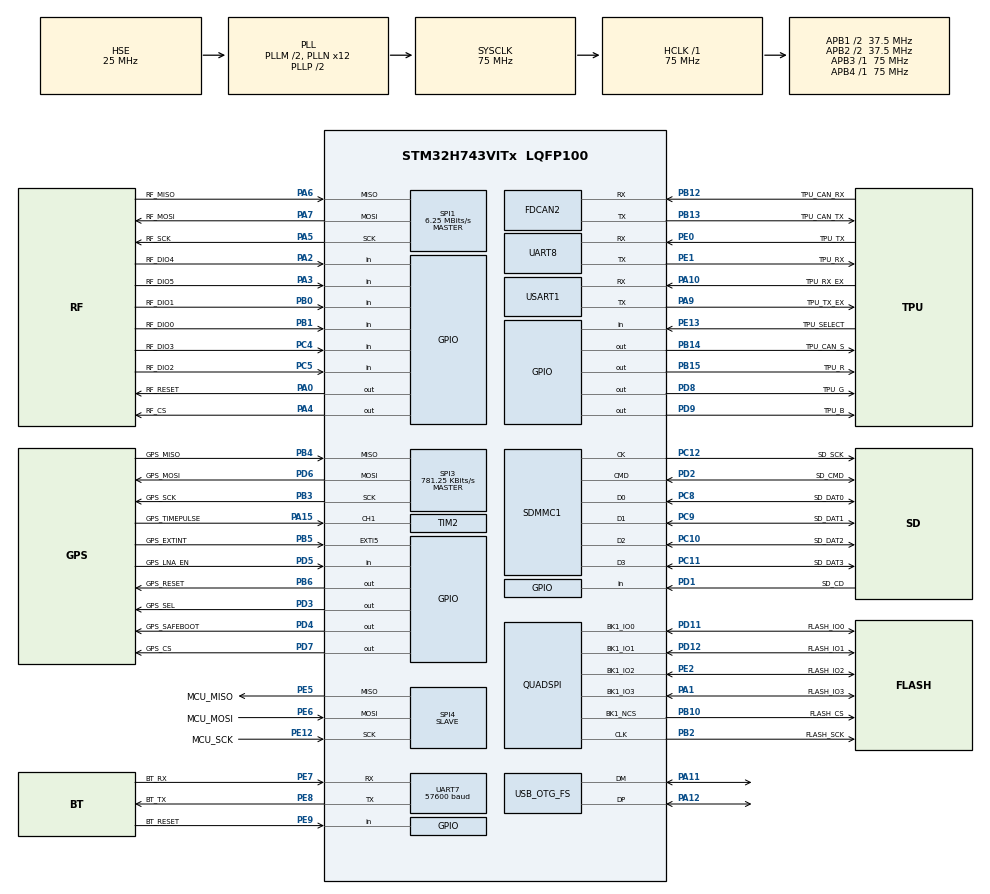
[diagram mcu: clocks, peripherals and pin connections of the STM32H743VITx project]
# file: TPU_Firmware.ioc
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CORTEX_M7.default_mode_Activation=1
FDCAN2.CalculateBaudRateNominal=1041666
FDCAN2.CalculateTimeBitNominal=960
FDCAN2.CalculateTimeQuantumNominal=320.0
FDCAN2.TxBuffersNbr=32
Mcu.Family=STM32H7
Mcu.Name=STM32H743VITx
Mcu.Package=LQFP100
NVIC.OTG_FS_IRQn=true\:0\:0\:false\:false\:true\:false\:true\:true
NVIC.PriorityGroup=NVIC_PRIORITYGROUP_4
NVIC.UART7_IRQn=true\:5\:0\:false\:false\:true\:true\:true\:true
NVIC.UART8_IRQn=true\:5\:0\:false\:false\:true\:true\:true\:true
PA0.GPIO_Label=RF_RESET
PA0.PinState=GPIO_PIN_SET
PA0.Signal=GPIO_Output
PA1.GPIO_Label=FLASH_IO3
PA1.Mode=Single Bank 1
PA1.Signal=QUADSPI_BK1_IO3
PA10.GPIO_Label=TPU_RX_EX
PA10.Mode=Asynchronous
PA10.Signal=USART1_RX
PA11.Mode=Device_Only
PA11.Signal=USB_OTG_FS_DM
PA12.Mode=Device_Only
PA12.Signal=USB_OTG_FS_DP
PA15\ (JTDI).GPIO_Label=GPS_TIMEPULSE
PA15\ (JTDI).Signal=S_TIM2_CH1_ETR
PA2.GPIO_Label=RF_DIO4
PA2.Signal=GPIO_Input
PA3.GPIO_Label=RF_DIO5
PA3.Signal=GPIO_Input
PA4.GPIO_Label=RF_CS
PA4.PinState=GPIO_PIN_SET
PA4.Signal=GPIO_Output
PA5.GPIO_Label=RF_SCK
PA5.Mode=Full_Duplex_Master
PA5.Signal=SPI1_SCK
PA6.GPIO_Label=RF_MISO
PA6.Mode=Full_Duplex_Master
PA6.Signal=SPI1_MISO
PA7.GPIO_Label=RF_MOSI
PA7.Mode=Full_Duplex_Master
PA7.Signal=SPI1_MOSI
PA9.GPIO_Label=TPU_TX_EX
PA9.Mode=Asynchronous
PA9.Signal=USART1_TX
PB0.GPIO_Label=RF_DIO1
PB0.Signal=GPIO_Input
PB1.GPIO_Label=RF_DIO0
PB1.Signal=GPIO_Input
PB10.GPIO_Label=FLASH_CS
PB10.Mode=Single Bank 1
PB10.Signal=QUADSPI_BK1_NCS
PB12.GPIO_Label=TPU_CAN_RX
PB12.Mode=FDCAN_Activate
PB12.Signal=FDCAN2_RX
PB13.GPIO_Label=TPU_CAN_TX
PB13.Mode=FDCAN_Activate
PB13.Signal=FDCAN2_TX
PB14.GPIO_Label=TPU_CAN_S
PB14.Signal=GPIO_Output
PB15.GPIO_Label=TPU_R
PB15.PinState=GPIO_PIN_SET
PB15.Signal=GPIO_Output
PB2.GPIO_Label=FLASH_SCK
PB2.Mode=Single Bank 1
PB2.Signal=QUADSPI_CLK
PB3\ (JTDO/TRACESWO).GPIO_Label=GPS_SCK
PB3\ (JTDO/TRACESWO).Mode=Full_Duplex_Master
PB3\ (JTDO/TRACESWO).Signal=SPI3_SCK
PB4\ (NJTRST).GPIO_Label=GPS_MISO
PB4\ (NJTRST).Mode=Full_Duplex_Master
PB4\ (NJTRST).Signal=SPI3_MISO
PB5.GPIO_Label=GPS_EXTINT
PB5.Signal=GPXTI5
PB6.GPIO_Label=GPS_RESET
PB6.PinState=GPIO_PIN_SET
PB6.Signal=GPIO_Output
PC10.GPIO_Label=SD_DAT2
PC10.Mode=SD_4_bits_Wide_bus
PC10.Signal=SDMMC1_D2
PC11.GPIO_Label=SD_DAT3
PC11.Mode=SD_4_bits_Wide_bus
PC11.Signal=SDMMC1_D3
PC12.GPIO_Label=SD_SCK
PC12.Mode=SD_4_bits_Wide_bus
PC12.Signal=SDMMC1_CK
PC14-OSC32_IN\ (OSC32_IN).Mode=LSE-External-Oscillator
PC14-OSC32_IN\ (OSC32_IN).Signal=RCC_OSC32_IN
PC15-OSC32_OUT\ (OSC32_OUT).Mode=LSE-External-Oscillator
PC15-OSC32_OUT\ (OSC32_OUT).Signal=RCC_OSC32_OUT
PC4.GPIO_Label=RF_DIO3
PC4.Signal=GPIO_Input
PC5.GPIO_Label=RF_DIO2
PC5.Signal=GPIO_Input
PC8.GPIO_Label=SD_DAT0
PC8.Mode=SD_4_bits_Wide_bus
PC8.Signal=SDMMC1_D0
PC9.GPIO_Label=SD_DAT1
PC9.Mode=SD_4_bits_Wide_bus
PC9.Signal=SDMMC1_D1
PD1.GPIO_Label=SD_CD
PD1.Signal=GPIO_Input
PD11.GPIO_Label=FLASH_IO0
PD11.Mode=Single Bank 1
PD11.Signal=QUADSPI_BK1_IO0
PD12.GPIO_Label=FLASH_IO1
PD12.Mode=Single Bank 1
PD12.Signal=QUADSPI_BK1_IO1
PD2.GPIO_Label=SD_CMD
PD2.Mode=SD_4_bits_Wide_bus
PD2.Signal=SDMMC1_CMD
PD3.GPIO_Label=GPS_SEL
PD3.Signal=GPIO_Output
PD4.GPIO_Label=GPS_SAFEBOOT
PD4.PinState=GPIO_PIN_SET
PD4.Signal=GPIO_Output
PD5.GPIO_Label=GPS_LNA_EN
PD5.Signal=GPIO_Input
PD6.GPIO_Label=GPS_MOSI
PD6.Mode=Full_Duplex_Master
PD6.Signal=SPI3_MOSI
PD7.GPIO_Label=GPS_CS
PD7.PinState=GPIO_PIN_SET
PD7.Signal=GPIO_Output
PD8.GPIO_Label=TPU_G
PD8.GPIO_ModeDefaultOutputPP=GPIO_MODE_OUTPUT_PP
PD8.GPIO_PuPd=GPIO_NOPULL
PD8.PinState=GPIO_PIN_SET
PD8.Signal=GPIO_Output
PD9.GPIO_Label=TPU_B
PD9.GPIO_PuPd=GPIO_NOPULL
PD9.PinState=GPIO_PIN_SET
PD9.Signal=GPIO_Output
PE0.GPIO_Label=TPU_TX
PE0.Mode=Asynchronous
PE0.Signal=UART8_RX
PE1.GPIO_Label=TPU_RX
PE1.Mode=Asynchronous
PE1.Signal=UART8_TX
PE12.GPIO_Label=MCU_SCK
PE12.Mode=Full_Duplex_Slave
PE12.Signal=SPI4_SCK
PE13.GPIO_Label=TPU_SELECT
PE13.Signal=GPIO_Input
PE2.GPIO_Label=FLASH_IO2
PE2.Mode=Single Bank 1
PE2.Signal=QUADSPI_BK1_IO2
PE5.GPIO_Label=MCU_MISO
PE5.Mode=Full_Duplex_Slave
PE5.Signal=SPI4_MISO
PE6.GPIO_Label=MCU_MOSI
PE6.Mode=Full_Duplex_Slave
PE6.Signal=SPI4_MOSI
PE7.GPIO_Label=BT_RX
PE7.Mode=Asynchronous
PE7.Signal=UART7_RX
PE8.GPIO_Label=BT_TX
PE8.Mode=Asynchronous
PE8.Signal=UART7_TX
PE9.GPIO_Label=BT_RESET
PE9.Signal=GPIO_Input
PH0-OSC_IN\ (PH0).Mode=HSE-External-Oscillator
PH0-OSC_IN\ (PH0).Signal=RCC_OSC_IN
PH1-OSC_OUT\ (PH1).Mode=HSE-External-Oscillator
PH1-OSC_OUT\ (PH1).Signal=RCC_OSC_OUT
ProjectManager.HeapSize=0x2000
ProjectManager.StackSize=0x6000
ProjectManager.TargetToolchain=Makefile
QUADSPI.ClockPrescaler=7
QUADSPI.FlashSize=24
RCC.ADCFreq_Value=50390625
RCC.APB1Freq_Value=37500000
RCC.APB2Freq_Value=37500000
RCC.APB3Freq_Value=75000000
RCC.APB4Freq_Value=75000000
RCC.CortexFreq_Value=75000000
RCC.D2PPRE1=RCC_APB1_DIV2
RCC.D2PPRE2=RCC_APB2_DIV2
RCC.DIVM1=2
RCC.DIVN1=12
RCC.DIVQ1=3
RCC.HCLKFreq_Value=75000000
RCC.PLL2FRACN=0
RCC.PLL3FRACN=0
RCC.PLLFRACN=0
RCC.SYSCLKFreq_VALUE=75000000
RCC.SYSCLKSource=RCC_SYSCLKSOURCE_PLLCLK
RCC.USBFreq_Value=50000000
SDMMC1.ClockDiv=10
SH.S_TIM2_CH1_ETR.0=TIM2_CH1,Input_Capture1_from_TI1
SPI1.BaudRatePrescaler=SPI_BAUDRATEPRESCALER_8
SPI1.CalculateBaudRate=6.25 MBits/s
SPI1.DataSize=SPI_DATASIZE_8BIT
SPI1.Direction=SPI_DIRECTION_2LINES
SPI1.Mode=SPI_MODE_MASTER
SPI1.VirtualType=VM_MASTER
SPI3.BaudRatePrescaler=SPI_BAUDRATEPRESCALER_64
SPI3.CalculateBaudRate=781.25 KBits/s
SPI3.DataSize=SPI_DATASIZE_8BIT
SPI3.Direction=SPI_DIRECTION_2LINES
SPI3.Mode=SPI_MODE_MASTER
SPI3.VirtualType=VM_MASTER
SPI4.Direction=SPI_DIRECTION_2LINES
SPI4.Mode=SPI_MODE_SLAVE
SPI4.VirtualType=VM_SLAVE
TIM2.Channel-Input_Capture1_from_TI1=TIM_CHANNEL_1
UART7.BaudRate=57600
UART8.AdvFeatureInit=UART_ADVFEATURE_SWAP_INIT
UART8.VirtualMode-Asynchronous=VM_ASYNC
UART8.Swap=UART_ADVFEATURE_SWAP_ENABLE
USART1.VirtualMode-Asynchronous=VM_ASYNC
USB_DEVICE.CLASS_NAME_FS=CDC
USB_DEVICE.USBD_DEBUG_LEVEL-CDC_FS=3
USB_DEVICE.VirtualMode-CDC_FS=Cdc
USB_DEVICE.VirtualModeFS=Cdc_FS
USB_OTG_FS.VirtualMode=Device_Only
VP_MEMORYMAP_VS_MEMORYMAP.Mode=CurAppReg
VP_USB_DEVICE_VS_USB_DEVICE_CDC_FS.Mode=CDC_FS
board=custom

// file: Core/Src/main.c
/* USER CODE BEGIN Header */
/**
  ******************************************************************************
  * @file           : main.c
  * @brief          : Main program body
  ******************************************************************************
  * @attention
  *
  * Copyright (c) 2025 STMicroelectronics.
  * All rights reserved.
  *
  * This software is licensed under terms that can be found in the LICENSE file
  * in the root directory of this software component.
  * If no LICENSE file comes with this software, it is provided AS-IS.
  *
  ******************************************************************************
  */
/* USER CODE END Header */
#include "main.h"
#include "usb_device.h"

/* USER CODE BEGIN Includes */
#include "usbd_cdc_if.h"
#include "athena.h"
#include "athena_link.h"
#include "sx127x.h"
#include "ublox.h"
#include "logger.h"
#include <string.h>

/* USER CODE END Includes */

/* USER CODE BEGIN PD */
#define LORA_FREQ_HZ    433000000u   // RA-02 band 410-525 MHz; match the ground station
#define LORA_TX_DBM     17
#define TELEM_RATE_HZ   2            // ~45 B frame at SF7/125k is ~90 ms of air time
#define STATUS_PRINT_MS 500
#define LED_IDENTITY_MS 3000         // show the MCU identity colour this long after reset
/* USER CODE END PD */

FDCAN_HandleTypeDef hfdcan2;

QSPI_HandleTypeDef hqspi;

SD_HandleTypeDef hsd1;

SPI_HandleTypeDef hspi1;
SPI_HandleTypeDef hspi3;
SPI_HandleTypeDef hspi4;

TIM_HandleTypeDef htim2;

UART_HandleTypeDef huart7;
UART_HandleTypeDef huart8;
UART_HandleTypeDef huart1;

/* USER CODE BEGIN PV */
static uint32_t dfu_boot_magic, dfu_boot_bkp;
static uint8_t  leds_off;                      // 'L' on the USB console: dark board (night, bench)
static uint32_t fault_rec[6];                 // crash record from the previous run (magic, pc, lr, cfsr, hfsr, bfar)
static Link             mpu_link;        // UART8 <-> MPU
static Link             air_link;        // frames received over LoRa (ground -> rocket)
static uint8_t          uart8_rx_byte;
static uint8_t          uart_frame[sizeof(Athena_GpsFix) + LINK_OVERHEAD];   // owned by the UART8 IT transfer
static uint8_t          usb_frame[sizeof(Athena_GpsFix) + LINK_OVERHEAD];
static uint8_t          lora_frame[sizeof(Athena_Telemetry) + LINK_OVERHEAD];
static Athena_State     mpu_state;
static uint32_t         mpu_state_ms, state_count;
static Athena_GpsFix    gps;
static uint32_t         gps_ms, gps_count;
static uint8_t          lora_ok, gps_cfg_failed;
static int16_t          last_rssi; static int8_t last_snr; static uint32_t air_count;
static uint8_t          lora_fail;
static uint8_t          uart7_rx_byte;                       // DA14531 (CodeLess AT) console
static char             bt_line[96]; static uint8_t bt_len; static uint32_t bt_rx_bytes;
static Link             bt_link;         // DA14531 UART: command frames from a phone (DSPS) + AT text (CodeLess)
static uint32_t         gps_rate_count, gps_rate_ms, gps_rate_x10;   /* measured fix rate, Hz*10 */
static Link             usb_link;        // USB console: command frames from the dashboard + single-character commands
static Athena_SpuStatus spu;             // latest SPU status (relayed by the MPU)
static uint8_t          spu_frame[sizeof(Athena_SpuStatus) + LINK_OVERHEAD];   // kept for USB + the radio
static uint32_t         spu_ms, spu_count, last_spu_air_ms;
static uint8_t          cmd_frame[sizeof(Athena_Cmd) + LINK_OVERHEAD], cmd_pending[sizeof(Athena_Cmd) + LINK_OVERHEAD];
static uint8_t          cmd_pending_len; // command waiting for UART8 (-> MPU -> SPU)
static uint32_t         cmd_count;
static uint8_t          bt_frame[sizeof(Athena_SpuStatus) + LINK_OVERHEAD];    // owned by the UART7 IT transfer (-> DA14531 -> phone/laptop)
/* Ground-station mode ('G' on the console, remembered in backup register 1): this board sits on the ground
 * with the laptop. It stops transmitting its own telemetry, hands every LoRa frame it hears to USB (and the
 * Bluetooth UART) as-is, and transmits command frames that arrive on USB/Bluetooth over LoRa. */
static uint8_t          ground_mode;
static uint8_t          air_frame[LINK_MAX_PAYLOAD + LINK_OVERHEAD];
static uint8_t          uplink_frame[sizeof(Athena_Cmd) + LINK_OVERHEAD];
static uint8_t          uplink_len;      // command waiting for the radio (ground mode)
static uint32_t         uplink_count;
#define GROUND_BKP_REG  (RTC->BKP1R)
#define GROUND_MAGIC    0x47524E44UL     /* "GRND" */
/* USER CODE END PV */

void SystemClock_Config(void);
static void MPU_Config(void);
static void MX_GPIO_Init(void);
static void MX_QUADSPI_Init(void);
static void MX_SPI1_Init(void);
static void MX_SPI3_Init(void);
static void MX_SPI4_Init(void);
static void MX_UART7_Init(void);
static void MX_UART8_Init(void);
static void MX_FDCAN2_Init(void);
static void MX_USART1_UART_Init(void);
static void MX_TIM2_Init(void);
static void MX_SDMMC1_SD_Init(void);
/* USER CODE BEGIN PFP */
static void Athena_DfuPoll(void);
void Athena_DfuRequest(uint8_t c);
static void on_mpu_packet(uint8_t type, const uint8_t *payload, uint8_t len, void *user);
static void on_air_packet(uint8_t type, const uint8_t *payload, uint8_t len, void *user);
static void on_usb_packet(uint8_t type, const uint8_t *payload, uint8_t len, void *user);
static void on_usb_text(uint8_t b, void *user);
static void on_bt_packet(uint8_t type, const uint8_t *payload, uint8_t len, void *user);
static void on_bt_text(uint8_t b, void *user);
static void forward_cmd(const uint8_t *payload, uint8_t len, const char *src);
void Athena_UsbRx(const uint8_t *buf, uint32_t len);
/* USER CODE END PFP */

int main(void)
{

  /* USER CODE BEGIN 1 */
  SCB->VTOR = FLASH_BASE;                                       /* after a DFU "leave" the ROM jumps here without a reset and VTOR still points at its own table */
  __DSB(); __ISB();
  dfu_boot_magic = *(volatile uint32_t *)DFU_MAGIC_ADDR;        /* printed later: tells whether the word survived the reset */
  DFU_BKP_ENABLE();
  dfu_boot_bkp = DFU_BKP_REG;
  if (dfu_boot_magic == DFU_MAGIC || dfu_boot_bkp == DFU_MAGIC) {   /* 'B' on the USB console asked for DFU */
    *(volatile uint32_t *)DFU_MAGIC_ADDR = 0;
    DFU_BKP_REG = 0;
    SysTick->CTRL = 0;
    SCB->VTOR = DFU_SYSMEM_ADDR;                                /* ROM vector table; interrupts stay enabled as after a real reset */
    __set_MSP(*(volatile uint32_t *)DFU_SYSMEM_ADDR);
    ((void (*)(void))(*(volatile uint32_t *)(DFU_SYSMEM_ADDR + 4)))();   /* never returns */
  }

  { volatile uint32_t *r = (volatile uint32_t *)(DFU_MAGIC_ADDR + 0x10);   /* left by Athena_FaultSave() / Error_Handler() before their reset */
    if (r[0] == 0x46415554UL || r[0] == 0x4552524FUL) { for (int i = 0; i < 6; i++) fault_rec[i] = r[i]; r[0] = 0; } }
  /* USER CODE END 1 */

  /* MPU Configuration--------------------------------------------------------*/
  MPU_Config();

  /* MCU Configuration--------------------------------------------------------*/

  /* Reset of all peripherals, Initializes the Flash interface and the Systick. */
  HAL_Init();

  /* Configure the system clock */
  SystemClock_Config();

  /* USER CODE BEGIN SysInit */
  Athena_LED_PinConfig led_pins = {
      .port_r = TPU_R_GPIO_Port,
      .pin_r = TPU_R_Pin,
      .port_g = TPU_G_GPIO_Port,
      .pin_g = TPU_G_Pin,
      .port_b = TPU_B_GPIO_Port,
      .pin_b = TPU_B_Pin
  };
  Athena_Init(&led_pins, NULL);

  /* USER CODE END SysInit */

  /* Initialize all configured peripherals */
  MX_GPIO_Init();
  MX_QUADSPI_Init();
  MX_SPI1_Init();
  MX_SPI3_Init();
  MX_SPI4_Init();
  MX_UART7_Init();
  MX_UART8_Init();
  MX_FDCAN2_Init();
  MX_USART1_UART_Init();
  MX_TIM2_Init();
  MX_USB_DEVICE_Init();
  MX_SDMMC1_SD_Init();
  /* USER CODE BEGIN 2 */
  Set_LED_Color(LED_RED);                              // identity colour: TPU = red (MPU green, SPU blue)
  Link_Init(&mpu_link, on_mpu_packet, NULL);
  Link_Init(&air_link, on_air_packet, NULL);
  Link_Init(&usb_link, on_usb_packet, NULL);
  usb_link.on_text = on_usb_text;                      // 'B'/'J' DFU, 'D'/'E'/'S'/'F' logger
  Link_Init(&bt_link, on_bt_packet, NULL);
  bt_link.on_text = on_bt_text;                        // CodeLess replies collected into lines
  ground_mode = (GROUND_BKP_REG == GROUND_MAGIC);      // survives resets and reflashes until 'G' again
  HAL_UART_Receive_IT(&huart8, &uart8_rx_byte, 1);
  HAL_UART_Receive_IT(&huart7, &uart7_rx_byte, 1);     // DA14531 CodeLess replies (needs module J5/P0_6 -> PE7, see INTEGRATION.md)
  HAL_Delay(1000);                                     // USB CDC enumeration

  print("\r\n=== Athena TPU ===\r\n");
  print("dfu: boot magic sram=0x%08lX bkp=0x%08lX\r\n", (unsigned long)dfu_boot_magic, (unsigned long)dfu_boot_bkp);
  if (ground_mode) print("GROUND STATION MODE: relaying LoRa <-> USB, no telemetry of my own ('G' to leave)\r\n");
  if (fault_rec[0]) print("%s before this reset: pc=0x%08lX lr=0x%08lX cfsr=0x%08lX hfsr=0x%08lX bfar=0x%08lX\r\n",
                          fault_rec[0] == 0x46415554UL ? "FAULT" : "ERROR_HANDLER", (unsigned long)fault_rec[1], (unsigned long)fault_rec[2],
                          (unsigned long)fault_rec[3], (unsigned long)fault_rec[4], (unsigned long)fault_rec[5]);
  lora_ok = (SX127x_Init(LORA_FREQ_HZ, LORA_TX_DBM) == 0);
  print("SX1278 %s (RegVersion 0x%02X)\r\n", lora_ok ? "ok" : "FAILED", SX127x_ReadReg(0x42));
  gps_cfg_failed = (uint8_t)Ublox_Init();
  print("NEO-M8U: %u config messages not ACKed (ack %lu nak %lu)\r\n", gps_cfg_failed, (unsigned long)Ublox_AckCount(), (unsigned long)Ublox_NakCount());
  print("init: logger\r\n");
  Logger_Init();                                       // W25Q256 ring log + microSD file (mounted when a card is present)
  print("init: done, entering loop\r\n");
  HAL_Delay(1500);                                     // DA14531 boots CodeLess from its flash (RST/P0_0 left floating)
  HAL_UART_Transmit(&huart7, (uint8_t *)"AT\r\n", 4, 100);
  print("DA14531: AT sent on UART7 @57600 (replies only visible once module J5/P0_6 is wired to PE7)\r\n");

  uint32_t last_telem_ms = 0, last_print_ms = 0;
  /* USER CODE END 2 */

  /* Infinite loop */
  /* USER CODE BEGIN WHILE */
  while (1)
  {
    uint32_t now = HAL_GetTick();
    Athena_DfuPoll();

    /* 0. logging back-ends: card detect, buffered writes, periodic sync, console commands */
    Logger_Task();

    /* 1. navigation state + SPU status arriving from the MPU (on_mpu_packet), USB console (on_usb_*) */
    Link_Process(&mpu_link);
    Link_Process(&usb_link);
    Link_Process(&bt_link);
    if (cmd_pending_len && huart8.gState == HAL_UART_STATE_READY) {   // command (uplink or USB) -> MPU -> SPU
      memcpy(cmd_frame, cmd_pending, cmd_pending_len);
      HAL_UART_Transmit_IT(&huart8, cmd_frame, cmd_pending_len); cmd_pending_len = 0;
    }

    /* 2. GPS: forward every NAV-PVT to the MPU, where the Kalman filter uses it */
    if (Ublox_Poll(&gps)) {
      gps_ms = now; gps_count++; gps_rate_count++;
      if ((now - gps_rate_ms) >= 5000u) {              // fix rate actually delivered by the receiver
        gps_rate_x10 = gps_rate_count * 10000u / (now - gps_rate_ms);
        gps_rate_count = 0; gps_rate_ms = now;
      }
      if (!ground_mode) {                              // a ground board's own fix would pass for the rocket's
        size_t n = Link_Encode(usb_frame, LINK_PKT_GPS, &gps, sizeof gps);
        Logger_Write(usb_frame, (uint32_t)n);
        CDC_Transmit_FS(usb_frame, (uint16_t)n);               // to the USB dashboard (dropped if busy)
        if (huart8.gState == HAL_UART_STATE_READY) {
          memcpy(uart_frame, usb_frame, n);
          HAL_UART_Transmit_IT(&huart8, uart_frame, (uint16_t)n);
        }
      }
    }

    /* 3. telemetry downlink: fused estimate + raw fix quality (not when this board is the ground station) */
    if (ground_mode && lora_ok && uplink_len) {                 // command from the laptop -> rocket
      if (SX127x_Send(uplink_frame, uplink_len) == 0) uplink_count++;
      else print("uplink: TxDone timeout\r\n");
      uplink_len = 0;
    }
    if (!ground_mode && lora_ok && (now - last_telem_ms) >= (1000u / TELEM_RATE_HZ)) {
      last_telem_ms = now;
      Athena_Telemetry t;
      Link_MakeTelemetry(&t, &mpu_state, (now - gps_ms) < 2000u ? &gps : NULL, now);
      size_t n = Link_Encode(lora_frame, LINK_PKT_TELEM, &t, sizeof t);
      Logger_Write(lora_frame, (uint32_t)n);
      CDC_Transmit_FS(lora_frame, (uint16_t)n);                // to the USB dashboard too
      if (huart7.gState == HAL_UART_STATE_READY) {             // and to the Bluetooth module (transparent with the DSPS firmware)
        memcpy(bt_frame, lora_frame, n);
        HAL_UART_Transmit_IT(&huart7, bt_frame, (uint16_t)n);
      }
      if (SX127x_Send(lora_frame, (uint8_t)n) == 0) {  // blocks ~90 ms, then returns to RX
        lora_fail = 0;
      } else if (++lora_fail >= 2) {                   // no TxDone twice: reset and re-init the radio
        lora_ok = (SX127x_Init(LORA_FREQ_HZ, LORA_TX_DBM) == 0);
        lora_fail = 0;
        print("SX1278: TxDone timeout, re-init %s\r\n", lora_ok ? "ok" : "FAILED");
      }
      /* 3b. SPU status (phase, armed, pyros, battery) every 2 s while it is fresh */
      if (lora_ok && spu_count && (now - spu_ms) < 3000u && (now - last_spu_air_ms) >= 2000u) {
        last_spu_air_ms = now;
        SX127x_Send(spu_frame, (uint8_t)(sizeof(Athena_SpuStatus) + LINK_OVERHEAD));
        if (huart7.gState == HAL_UART_STATE_READY) {
          memcpy(bt_frame, spu_frame, sizeof(Athena_SpuStatus) + LINK_OVERHEAD);
          HAL_UART_Transmit_IT(&huart7, bt_frame, (uint16_t)(sizeof(Athena_SpuStatus) + LINK_OVERHEAD));
        }
      }
    }

    /* 4. uplink: anything the ground station sends is parsed with the same framing */
    if (lora_ok) {
      uint8_t rx[LINK_MAX_PAYLOAD + LINK_OVERHEAD];
      int n = SX127x_Receive(rx, sizeof rx, &last_rssi, &last_snr);
      for (int i = 0; i < n; i++) Link_FeedByte(&air_link, rx[i]);
    }

    /* 4b. anything the Bluetooth module said */
    if (bt_len == 0xFF) { print("bt: %s\r\n", bt_line); bt_len = 0; }

    /* 5. status over USB */
    if ((now - last_print_ms) >= STATUS_PRINT_MS) {
      last_print_ms = now;
      const Ublox_Hw *hw = Ublox_HwStatus();
      char logst[48]; Logger_StatusLine(logst, sizeof logst);
      static char line[320];
      int ln = snprintf(line, sizeof line, "gps fix=%u sv=%u lat=%ld lon=%ld hmsl=%ld m (n=%lu, %lu.%lu Hz) ant=%s pwr=%u noise=%u agc=%u jam=%u | mpu alt=%.1f vD=%.1f flags=0x%02X (n=%lu, %lu ms ago, bad=%lu) | spu %s ph=%u fl=0x%02X fired=0x%02X vbat=%u | air rx=%lu rssi=%d%s up=%lu | %s | boot=%08lX/%08lX",
            gps.fix_type, gps.num_sv, (long)gps.lat_1e7, (long)gps.lon_1e7, (long)(gps.h_msl_mm / 1000), (unsigned long)gps_count,
            (unsigned long)(gps_rate_x10 / 10), (unsigned long)(gps_rate_x10 % 10),
            hw->valid ? Ublox_AntStatusStr(hw->ant_status) : "-", hw->ant_power, hw->noise_per_ms, hw->agc_cnt, hw->jam_ind,
            -mpu_state.pos_ned[2], mpu_state.vel_ned[2], mpu_state.flags, (unsigned long)state_count, (unsigned long)(HAL_GetTick() - mpu_state_ms), (unsigned long)mpu_link.rx_bad,
            (spu_count && (now - spu_ms) < 3000u) ? "ok" : "LOST", spu.phase, spu.flags, spu.pyro_fired, spu.vbat_mv,
            (unsigned long)air_count, last_rssi, ground_mode ? " GROUND" : "", (unsigned long)uplink_count, logst, (unsigned long)dfu_boot_magic, (unsigned long)dfu_boot_bkp);
      if (ln > (int)sizeof line - 1) ln = sizeof line - 1;
      print("%s\r\n", line);
      static uint8_t text_frame[LINK_MAX_PAYLOAD + LINK_OVERHEAD];
      Logger_Write(text_frame, (uint32_t)Link_Encode(text_frame, LINK_PKT_TEXT, line, (uint8_t)(ln > LINK_MAX_PAYLOAD ? LINK_MAX_PAYLOAD : ln)));
      int mpu_alive = (now - mpu_state_ms) < 1000u && state_count;
      if (leds_off)                                   Set_LED_Color(LED_OFF);
      else if (HAL_GetTick() < LED_IDENTITY_MS)       { /* keep showing the identity colour */ }
      else if (!lora_ok)                              Set_LED_Color(LED_YELLOW);
      else if (mpu_alive && gps.fix_type >= 3)        Set_LED_Color(LED_GREEN);
      else if (mpu_alive)                             Set_LED_Color(LED_CYAN);
      else                                            Set_LED_Color(LED_BLUE);
    }
    /* USER CODE END WHILE */

  }
}

void SystemClock_Config(void)
{
  RCC_OscInitTypeDef RCC_OscInitStruct = {0};
  RCC_ClkInitTypeDef RCC_ClkInitStruct = {0};

  /** Supply configuration update enable
  */
  HAL_PWREx_ConfigSupply(PWR_LDO_SUPPLY);

  /** Configure the main internal regulator output voltage
  */
  __HAL_PWR_VOLTAGESCALING_CONFIG(PWR_REGULATOR_VOLTAGE_SCALE3);

  while(!__HAL_PWR_GET_FLAG(PWR_FLAG_VOSRDY)) {}

  /** Initializes the RCC Oscillators according to the specified parameters
  * in the RCC_OscInitTypeDef structure.
  */
  RCC_OscInitStruct.OscillatorType = RCC_OSCILLATORTYPE_HSE;
  RCC_OscInitStruct.HSEState = RCC_HSE_ON;
  RCC_OscInitStruct.PLL.PLLState = RCC_PLL_ON;
  RCC_OscInitStruct.PLL.PLLSource = RCC_PLLSOURCE_HSE;
  RCC_OscInitStruct.PLL.PLLM = 2;
  RCC_OscInitStruct.PLL.PLLN = 12;
  RCC_OscInitStruct.PLL.PLLP = 2;
  RCC_OscInitStruct.PLL.PLLQ = 3;
  RCC_OscInitStruct.PLL.PLLR = 2;
  RCC_OscInitStruct.PLL.PLLRGE = RCC_PLL1VCIRANGE_3;
  RCC_OscInitStruct.PLL.PLLVCOSEL = RCC_PLL1VCOMEDIUM;
  RCC_OscInitStruct.PLL.PLLFRACN = 0;
  if (HAL_RCC_OscConfig(&RCC_OscInitStruct) != HAL_OK)
  {
    Error_Handler();
  }

  /** Initializes the CPU, AHB and APB buses clocks
  */
  RCC_ClkInitStruct.ClockType = RCC_CLOCKTYPE_HCLK|RCC_CLOCKTYPE_SYSCLK
                              |RCC_CLOCKTYPE_PCLK1|RCC_CLOCKTYPE_PCLK2
                              |RCC_CLOCKTYPE_D3PCLK1|RCC_CLOCKTYPE_D1PCLK1;
  RCC_ClkInitStruct.SYSCLKSource = RCC_SYSCLKSOURCE_PLLCLK;
  RCC_ClkInitStruct.SYSCLKDivider = RCC_SYSCLK_DIV1;
  RCC_ClkInitStruct.AHBCLKDivider = RCC_HCLK_DIV1;
  RCC_ClkInitStruct.APB3CLKDivider = RCC_APB3_DIV1;
  RCC_ClkInitStruct.APB1CLKDivider = RCC_APB1_DIV2;
  RCC_ClkInitStruct.APB2CLKDivider = RCC_APB2_DIV2;
  RCC_ClkInitStruct.APB4CLKDivider = RCC_APB4_DIV1;

  if (HAL_RCC_ClockConfig(&RCC_ClkInitStruct, FLASH_LATENCY_1) != HAL_OK)
  {
    Error_Handler();
  }
}

static void MX_FDCAN2_Init(void)
{

  hfdcan2.Instance = FDCAN2;
  hfdcan2.Init.FrameFormat = FDCAN_FRAME_CLASSIC;
  hfdcan2.Init.Mode = FDCAN_MODE_NORMAL;
  hfdcan2.Init.AutoRetransmission = DISABLE;
  hfdcan2.Init.TransmitPause = DISABLE;
  hfdcan2.Init.ProtocolException = DISABLE;
  hfdcan2.Init.NominalPrescaler = 16;
  hfdcan2.Init.NominalSyncJumpWidth = 1;
  hfdcan2.Init.NominalTimeSeg1 = 1;
  hfdcan2.Init.NominalTimeSeg2 = 1;
  hfdcan2.Init.DataPrescaler = 1;
  hfdcan2.Init.DataSyncJumpWidth = 1;
  hfdcan2.Init.DataTimeSeg1 = 1;
  hfdcan2.Init.DataTimeSeg2 = 1;
  hfdcan2.Init.MessageRAMOffset = 0;
  hfdcan2.Init.StdFiltersNbr = 0;
  hfdcan2.Init.ExtFiltersNbr = 0;
  hfdcan2.Init.RxFifo0ElmtsNbr = 0;
  hfdcan2.Init.RxFifo0ElmtSize = FDCAN_DATA_BYTES_8;
  hfdcan2.Init.RxFifo1ElmtsNbr = 0;
  hfdcan2.Init.RxFifo1ElmtSize = FDCAN_DATA_BYTES_8;
  hfdcan2.Init.RxBuffersNbr = 0;
  hfdcan2.Init.RxBufferSize = FDCAN_DATA_BYTES_8;
  hfdcan2.Init.TxEventsNbr = 0;
  hfdcan2.Init.TxBuffersNbr = 32;
  hfdcan2.Init.TxFifoQueueElmtsNbr = 0;
  hfdcan2.Init.TxFifoQueueMode = FDCAN_TX_FIFO_OPERATION;
  hfdcan2.Init.TxElmtSize = FDCAN_DATA_BYTES_8;
  if (HAL_FDCAN_Init(&hfdcan2) != HAL_OK)
  {
    Error_Handler();
  }

}

static void MX_QUADSPI_Init(void)
{

  /* QUADSPI parameter configuration*/
  hqspi.Instance = QUADSPI;
  hqspi.Init.ClockPrescaler = 7;
  hqspi.Init.FifoThreshold = 1;
  hqspi.Init.SampleShifting = QSPI_SAMPLE_SHIFTING_NONE;
  hqspi.Init.FlashSize = 24;
  hqspi.Init.ChipSelectHighTime = QSPI_CS_HIGH_TIME_1_CYCLE;
  hqspi.Init.ClockMode = QSPI_CLOCK_MODE_0;
  hqspi.Init.FlashID = QSPI_FLASH_ID_1;
  hqspi.Init.DualFlash = QSPI_DUALFLASH_DISABLE;
  if (HAL_QSPI_Init(&hqspi) != HAL_OK)
  {
    Error_Handler();
  }

}

static void MX_SDMMC1_SD_Init(void)
{

  /* USER CODE BEGIN SDMMC1_Init 1 */
  return;   /* the microSD is removable: logger.c initialises SDMMC1 only when a card is present,
               so the generated HAL_SD_Init()/Error_Handler() below must never run */
  /* USER CODE END SDMMC1_Init 1 */
  hsd1.Instance = SDMMC1;
  hsd1.Init.ClockEdge = SDMMC_CLOCK_EDGE_RISING;
  hsd1.Init.ClockPowerSave = SDMMC_CLOCK_POWER_SAVE_DISABLE;
  hsd1.Init.BusWide = SDMMC_BUS_WIDE_4B;
  hsd1.Init.HardwareFlowControl = SDMMC_HARDWARE_FLOW_CONTROL_DISABLE;
  hsd1.Init.ClockDiv = 10;
  if (HAL_SD_Init(&hsd1) != HAL_OK)
  {
    Error_Handler();
  }

}

static void MX_SPI1_Init(void)
{

  /* SPI1 parameter configuration*/
  hspi1.Instance = SPI1;
  hspi1.Init.Mode = SPI_MODE_MASTER;
  hspi1.Init.Direction = SPI_DIRECTION_2LINES;
  hspi1.Init.DataSize = SPI_DATASIZE_8BIT;
  hspi1.Init.CLKPolarity = SPI_POLARITY_LOW;
  hspi1.Init.CLKPhase = SPI_PHASE_1EDGE;
  hspi1.Init.NSS = SPI_NSS_SOFT;
  hspi1.Init.BaudRatePrescaler = SPI_BAUDRATEPRESCALER_8;
  hspi1.Init.FirstBit = SPI_FIRSTBIT_MSB;
  hspi1.Init.TIMode = SPI_TIMODE_DISABLE;
  hspi1.Init.CRCCalculation = SPI_CRCCALCULATION_DISABLE;
  hspi1.Init.CRCPolynomial = 0x0;
  hspi1.Init.NSSPMode = SPI_NSS_PULSE_ENABLE;
  hspi1.Init.NSSPolarity = SPI_NSS_POLARITY_LOW;
  hspi1.Init.FifoThreshold = SPI_FIFO_THRESHOLD_01DATA;
  hspi1.Init.TxCRCInitializationPattern = SPI_CRC_INITIALIZATION_ALL_ZERO_PATTERN;
  hspi1.Init.RxCRCInitializationPattern = SPI_CRC_INITIALIZATION_ALL_ZERO_PATTERN;
  hspi1.Init.MasterSSIdleness = SPI_MASTER_SS_IDLENESS_00CYCLE;
  hspi1.Init.MasterInterDataIdleness = SPI_MASTER_INTERDATA_IDLENESS_00CYCLE;
  hspi1.Init.MasterReceiverAutoSusp = SPI_MASTER_RX_AUTOSUSP_DISABLE;
  hspi1.Init.MasterKeepIOState = SPI_MASTER_KEEP_IO_STATE_DISABLE;
  hspi1.Init.IOSwap = SPI_IO_SWAP_DISABLE;
  if (HAL_SPI_Init(&hspi1) != HAL_OK)
  {
    Error_Handler();
  }

}

static void MX_SPI3_Init(void)
{

  /* SPI3 parameter configuration*/
  hspi3.Instance = SPI3;
  hspi3.Init.Mode = SPI_MODE_MASTER;
  hspi3.Init.Direction = SPI_DIRECTION_2LINES;
  hspi3.Init.DataSize = SPI_DATASIZE_8BIT;
  hspi3.Init.CLKPolarity = SPI_POLARITY_LOW;
  hspi3.Init.CLKPhase = SPI_PHASE_1EDGE;
  hspi3.Init.NSS = SPI_NSS_SOFT;
  hspi3.Init.BaudRatePrescaler = SPI_BAUDRATEPRESCALER_64;
  hspi3.Init.FirstBit = SPI_FIRSTBIT_MSB;
  hspi3.Init.TIMode = SPI_TIMODE_DISABLE;
  hspi3.Init.CRCCalculation = SPI_CRCCALCULATION_DISABLE;
  hspi3.Init.CRCPolynomial = 0x0;
  hspi3.Init.NSSPMode = SPI_NSS_PULSE_ENABLE;
  hspi3.Init.NSSPolarity = SPI_NSS_POLARITY_LOW;
  hspi3.Init.FifoThreshold = SPI_FIFO_THRESHOLD_01DATA;
  hspi3.Init.TxCRCInitializationPattern = SPI_CRC_INITIALIZATION_ALL_ZERO_PATTERN;
  hspi3.Init.RxCRCInitializationPattern = SPI_CRC_INITIALIZATION_ALL_ZERO_PATTERN;
  hspi3.Init.MasterSSIdleness = SPI_MASTER_SS_IDLENESS_00CYCLE;
  hspi3.Init.MasterInterDataIdleness = SPI_MASTER_INTERDATA_IDLENESS_00CYCLE;
  hspi3.Init.MasterReceiverAutoSusp = SPI_MASTER_RX_AUTOSUSP_DISABLE;
  hspi3.Init.MasterKeepIOState = SPI_MASTER_KEEP_IO_STATE_DISABLE;
  hspi3.Init.IOSwap = SPI_IO_SWAP_DISABLE;
  if (HAL_SPI_Init(&hspi3) != HAL_OK)
  {
    Error_Handler();
  }

}

static void MX_SPI4_Init(void)
{

  /* SPI4 parameter configuration*/
  hspi4.Instance = SPI4;
  hspi4.Init.Mode = SPI_MODE_SLAVE;
  hspi4.Init.Direction = SPI_DIRECTION_2LINES;
  hspi4.Init.DataSize = SPI_DATASIZE_4BIT;
  hspi4.Init.CLKPolarity = SPI_POLARITY_LOW;
  hspi4.Init.CLKPhase = SPI_PHASE_1EDGE;
  hspi4.Init.NSS = SPI_NSS_SOFT;
  hspi4.Init.FirstBit = SPI_FIRSTBIT_MSB;
  hspi4.Init.TIMode = SPI_TIMODE_DISABLE;
  hspi4.Init.CRCCalculation = SPI_CRCCALCULATION_DISABLE;
  hspi4.Init.CRCPolynomial = 0x0;
  hspi4.Init.NSSPMode = SPI_NSS_PULSE_DISABLE;
  hspi4.Init.NSSPolarity = SPI_NSS_POLARITY_LOW;
  hspi4.Init.FifoThreshold = SPI_FIFO_THRESHOLD_01DATA;
  hspi4.Init.TxCRCInitializationPattern = SPI_CRC_INITIALIZATION_ALL_ZERO_PATTERN;
  hspi4.Init.RxCRCInitializationPattern = SPI_CRC_INITIALIZATION_ALL_ZERO_PATTERN;
  hspi4.Init.MasterSSIdleness = SPI_MASTER_SS_IDLENESS_00CYCLE;
  hspi4.Init.MasterInterDataIdleness = SPI_MASTER_INTERDATA_IDLENESS_00CYCLE;
  hspi4.Init.MasterReceiverAutoSusp = SPI_MASTER_RX_AUTOSUSP_DISABLE;
  hspi4.Init.MasterKeepIOState = SPI_MASTER_KEEP_IO_STATE_DISABLE;
  hspi4.Init.IOSwap = SPI_IO_SWAP_DISABLE;
  if (HAL_SPI_Init(&hspi4) != HAL_OK)
  {
    Error_Handler();
  }

}

static void MX_TIM2_Init(void)
{

  TIM_MasterConfigTypeDef sMasterConfig = {0};
  TIM_IC_InitTypeDef sConfigIC = {0};

  htim2.Instance = TIM2;
  htim2.Init.Prescaler = 0;
  htim2.Init.CounterMode = TIM_COUNTERMODE_UP;
  htim2.Init.Period = 4294967295;
  htim2.Init.ClockDivision = TIM_CLOCKDIVISION_DIV1;
  htim2.Init.AutoReloadPreload = TIM_AUTORELOAD_PRELOAD_DISABLE;
  if (HAL_TIM_IC_Init(&htim2) != HAL_OK)
  {
    Error_Handler();
  }
  sMasterConfig.MasterOutputTrigger = TIM_TRGO_RESET;
  sMasterConfig.MasterSlaveMode = TIM_MASTERSLAVEMODE_DISABLE;
  if (HAL_TIMEx_MasterConfigSynchronization(&htim2, &sMasterConfig) != HAL_OK)
  {
    Error_Handler();
  }
  sConfigIC.ICPolarity = TIM_INPUTCHANNELPOLARITY_RISING;
  sConfigIC.ICSelection = TIM_ICSELECTION_DIRECTTI;
  sConfigIC.ICPrescaler = TIM_ICPSC_DIV1;
  sConfigIC.ICFilter = 0;
  if (HAL_TIM_IC_ConfigChannel(&htim2, &sConfigIC, TIM_CHANNEL_1) != HAL_OK)
  {
    Error_Handler();
  }

}

static void MX_UART7_Init(void)
{

  huart7.Instance = UART7;
  huart7.Init.BaudRate = 57600;
  huart7.Init.WordLength = UART_WORDLENGTH_8B;
  huart7.Init.StopBits = UART_STOPBITS_1;
  huart7.Init.Parity = UART_PARITY_NONE;
  huart7.Init.Mode = UART_MODE_TX_RX;
  huart7.Init.HwFlowCtl = UART_HWCONTROL_NONE;
  huart7.Init.OverSampling = UART_OVERSAMPLING_16;
  huart7.Init.OneBitSampling = UART_ONE_BIT_SAMPLE_DISABLE;
  huart7.Init.ClockPrescaler = UART_PRESCALER_DIV1;
  huart7.AdvancedInit.AdvFeatureInit = UART_ADVFEATURE_NO_INIT;
  if (HAL_UART_Init(&huart7) != HAL_OK)
  {
    Error_Handler();
  }
  if (HAL_UARTEx_SetTxFifoThreshold(&huart7, UART_TXFIFO_THRESHOLD_1_8) != HAL_OK)
  {
    Error_Handler();
  }
  if (HAL_UARTEx_SetRxFifoThreshold(&huart7, UART_RXFIFO_THRESHOLD_1_8) != HAL_OK)
  {
    Error_Handler();
  }
  if (HAL_UARTEx_DisableFifoMode(&huart7) != HAL_OK)
  {
    Error_Handler();
  }

}

static void MX_UART8_Init(void)
{

  huart8.Instance = UART8;
  huart8.Init.BaudRate = 115200;
  huart8.Init.WordLength = UART_WORDLENGTH_8B;
  huart8.Init.StopBits = UART_STOPBITS_1;
  huart8.Init.Parity = UART_PARITY_NONE;
  huart8.Init.Mode = UART_MODE_TX_RX;
  huart8.Init.HwFlowCtl = UART_HWCONTROL_NONE;
  huart8.Init.OverSampling = UART_OVERSAMPLING_16;
  huart8.Init.OneBitSampling = UART_ONE_BIT_SAMPLE_DISABLE;
  huart8.Init.ClockPrescaler = UART_PRESCALER_DIV1;
  huart8.AdvancedInit.AdvFeatureInit = UART_ADVFEATURE_SWAP_INIT;
  huart8.AdvancedInit.Swap = UART_ADVFEATURE_SWAP_ENABLE;
  if (HAL_UART_Init(&huart8) != HAL_OK)
  {
    Error_Handler();
  }
  if (HAL_UARTEx_SetTxFifoThreshold(&huart8, UART_TXFIFO_THRESHOLD_1_8) != HAL_OK)
  {
    Error_Handler();
  }
  if (HAL_UARTEx_SetRxFifoThreshold(&huart8, UART_RXFIFO_THRESHOLD_1_8) != HAL_OK)
  {
    Error_Handler();
  }
  if (HAL_UARTEx_DisableFifoMode(&huart8) != HAL_OK)
  {
    Error_Handler();
  }

}

static void MX_USART1_UART_Init(void)
{

  huart1.Instance = USART1;
  huart1.Init.BaudRate = 115200;
  huart1.Init.WordLength = UART_WORDLENGTH_8B;
  huart1.Init.StopBits = UART_STOPBITS_1;
  huart1.Init.Parity = UART_PARITY_NONE;
  huart1.Init.Mode = UART_MODE_TX_RX;
  huart1.Init.HwFlowCtl = UART_HWCONTROL_NONE;
  huart1.Init.OverSampling = UART_OVERSAMPLING_16;
  huart1.Init.OneBitSampling = UART_ONE_BIT_SAMPLE_DISABLE;
  huart1.Init.ClockPrescaler = UART_PRESCALER_DIV1;
  huart1.AdvancedInit.AdvFeatureInit = UART_ADVFEATURE_NO_INIT;
  if (HAL_UART_Init(&huart1) != HAL_OK)
  {
    Error_Handler();
  }
  if (HAL_UARTEx_SetTxFifoThreshold(&huart1, UART_TXFIFO_THRESHOLD_1_8) != HAL_OK)
  {
    Error_Handler();
  }
  if (HAL_UARTEx_SetRxFifoThreshold(&huart1, UART_RXFIFO_THRESHOLD_1_8) != HAL_OK)
  {
    Error_Handler();
  }
  if (HAL_UARTEx_DisableFifoMode(&huart1) != HAL_OK)
  {
    Error_Handler();
  }

}

static void MX_GPIO_Init(void)
{
  GPIO_InitTypeDef GPIO_InitStruct = {0};

  /* GPIO Ports Clock Enable */
  __HAL_RCC_GPIOE_CLK_ENABLE();
  __HAL_RCC_GPIOC_CLK_ENABLE();
  __HAL_RCC_GPIOH_CLK_ENABLE();
  __HAL_RCC_GPIOA_CLK_ENABLE();
  __HAL_RCC_GPIOB_CLK_ENABLE();
  __HAL_RCC_GPIOD_CLK_ENABLE();

  /*Configure GPIO pin Output Level */
  HAL_GPIO_WritePin(GPIOA, RF_RESET_Pin|RF_CS_Pin, GPIO_PIN_SET);

  /*Configure GPIO pin Output Level */
  HAL_GPIO_WritePin(TPU_CAN_S_GPIO_Port, TPU_CAN_S_Pin, GPIO_PIN_RESET);

  /*Configure GPIO pin Output Level */
  HAL_GPIO_WritePin(GPIOB, TPU_R_Pin|GPS_RESET_Pin, GPIO_PIN_SET);

  /*Configure GPIO pin Output Level */
  HAL_GPIO_WritePin(GPIOD, TPU_G_Pin|TPU_B_Pin|GPS_SAFEBOOT_Pin|GPS_CS_Pin, GPIO_PIN_SET);

  /*Configure GPIO pin Output Level */
  HAL_GPIO_WritePin(GPS_SEL_GPIO_Port, GPS_SEL_Pin, GPIO_PIN_RESET);

  /*Configure GPIO pins : RF_RESET_Pin RF_CS_Pin */
  GPIO_InitStruct.Pin = RF_RESET_Pin|RF_CS_Pin;
  GPIO_InitStruct.Mode = GPIO_MODE_OUTPUT_PP;
  GPIO_InitStruct.Pull = GPIO_NOPULL;
  GPIO_InitStruct.Speed = GPIO_SPEED_FREQ_LOW;
  HAL_GPIO_Init(GPIOA, &GPIO_InitStruct);

  /*Configure GPIO pins : RF_DIO4_Pin RF_DIO5_Pin */
  GPIO_InitStruct.Pin = RF_DIO4_Pin|RF_DIO5_Pin;
  GPIO_InitStruct.Mode = GPIO_MODE_INPUT;
  GPIO_InitStruct.Pull = GPIO_NOPULL;
  HAL_GPIO_Init(GPIOA, &GPIO_InitStruct);

  /*Configure GPIO pins : RF_DIO3_Pin RF_DIO2_Pin */
  GPIO_InitStruct.Pin = RF_DIO3_Pin|RF_DIO2_Pin;
  GPIO_InitStruct.Mode = GPIO_MODE_INPUT;
  GPIO_InitStruct.Pull = GPIO_NOPULL;
  HAL_GPIO_Init(GPIOC, &GPIO_InitStruct);

  /*Configure GPIO pins : RF_DIO1_Pin RF_DIO0_Pin */
  GPIO_InitStruct.Pin = RF_DIO1_Pin|RF_DIO0_Pin;
  GPIO_InitStruct.Mode = GPIO_MODE_INPUT;
  GPIO_InitStruct.Pull = GPIO_NOPULL;
  HAL_GPIO_Init(GPIOB, &GPIO_InitStruct);

  /*Configure GPIO pin : BT_RESET_Pin */
  GPIO_InitStruct.Pin = BT_RESET_Pin;
  GPIO_InitStruct.Mode = GPIO_MODE_INPUT;
  GPIO_InitStruct.Pull = GPIO_NOPULL;
  HAL_GPIO_Init(BT_RESET_GPIO_Port, &GPIO_InitStruct);

  /*Configure GPIO pin : TPU_SELECT_Pin */
  GPIO_InitStruct.Pin = TPU_SELECT_Pin;
  GPIO_InitStruct.Mode = GPIO_MODE_INPUT;
  GPIO_InitStruct.Pull = GPIO_NOPULL;
  HAL_GPIO_Init(TPU_SELECT_GPIO_Port, &GPIO_InitStruct);

  /*Configure GPIO pins : TPU_CAN_S_Pin TPU_R_Pin GPS_RESET_Pin */
  GPIO_InitStruct.Pin = TPU_CAN_S_Pin|TPU_R_Pin|GPS_RESET_Pin;
  GPIO_InitStruct.Mode = GPIO_MODE_OUTPUT_PP;
  GPIO_InitStruct.Pull = GPIO_NOPULL;
  GPIO_InitStruct.Speed = GPIO_SPEED_FREQ_LOW;
  HAL_GPIO_Init(GPIOB, &GPIO_InitStruct);

  /*Configure GPIO pins : TPU_G_Pin TPU_B_Pin GPS_SEL_Pin GPS_SAFEBOOT_Pin
                           GPS_CS_Pin */
  GPIO_InitStruct.Pin = TPU_G_Pin|TPU_B_Pin|GPS_SEL_Pin|GPS_SAFEBOOT_Pin
                          |GPS_CS_Pin;
  GPIO_InitStruct.Mode = GPIO_MODE_OUTPUT_PP;
  GPIO_InitStruct.Pull = GPIO_NOPULL;
  GPIO_InitStruct.Speed = GPIO_SPEED_FREQ_LOW;
  HAL_GPIO_Init(GPIOD, &GPIO_InitStruct);

  /*Configure GPIO pins : SD_CD_Pin GPS_LNA_EN_Pin */
  GPIO_InitStruct.Pin = SD_CD_Pin|GPS_LNA_EN_Pin;
  GPIO_InitStruct.Mode = GPIO_MODE_INPUT;
  GPIO_InitStruct.Pull = GPIO_NOPULL;
  HAL_GPIO_Init(GPIOD, &GPIO_InitStruct);

  /*Configure GPIO pin : GPS_EXTINT_Pin */
  GPIO_InitStruct.Pin = GPS_EXTINT_Pin;
  GPIO_InitStruct.Mode = GPIO_MODE_IT_RISING;
  GPIO_InitStruct.Pull = GPIO_NOPULL;
  HAL_GPIO_Init(GPS_EXTINT_GPIO_Port, &GPIO_InitStruct);

  /*AnalogSwitch Config */
  HAL_SYSCFG_AnalogSwitchConfig(SYSCFG_SWITCH_PA0, SYSCFG_SWITCH_PA0_CLOSE);

}

/* USER CODE BEGIN 4 */
/* --- crash recorder: fault handlers (it.c) branch here with the exception frame; Error_Handler() records too.
 * The record sits next to the DFU magic word in RAM that the startup code never touches, survives the
 * reset and is printed by the next boot. */
void Athena_FaultSave(uint32_t *sp)
{
  volatile uint32_t *r = (volatile uint32_t *)(DFU_MAGIC_ADDR + 0x10);
  r[1] = sp[6]; r[2] = sp[5]; r[3] = SCB->CFSR; r[4] = SCB->HFSR; r[5] = SCB->BFAR; r[0] = 0x46415554UL;   /* "FAUT" */
  __DSB();
  NVIC_SystemReset();
}
/* --- software entry into the ST ROM bootloader (USB DFU), two ways ---------------------------
 * 'B': leave a magic word in RAM and reset; main() checks it first thing and jumps (needs the
 *      SRAM word to survive the reset).
 * 'J': jump from here without a reset: tear USB, clocks, NVIC, caches and MPU down to their
 *      reset state and enter system memory with interrupts enabled (the ROM uses the USB IRQ). */
extern USBD_HandleTypeDef hUsbDeviceFS;
static volatile uint8_t dfu_request;
void Athena_DfuRequest(uint8_t c) { dfu_request = c; }

static void Athena_ResetToDfu(void)
{
  USBD_DeInit(&hUsbDeviceFS);                                   /* host sees a disconnect (>= 30 ms) before the reset */
  HAL_Delay(100);
  DFU_BKP_ENABLE();
  DFU_BKP_REG = DFU_MAGIC;                                      /* backup register: immune to whatever happens to SRAM */
  *(volatile uint32_t *)DFU_MAGIC_ADDR = DFU_MAGIC;             /* AXI SRAM, untouched by the startup code (all sections live in DTCM); D-cache is off */
  __DSB();
  NVIC_SystemReset();
}

static void Athena_JumpToBootloader(void)
{
  USBD_DeInit(&hUsbDeviceFS);                                   /* host sees a disconnect */
  HAL_Delay(100);
  __disable_irq();
  HAL_RCC_DeInit();
  HAL_DeInit();
  SysTick->CTRL = 0; SysTick->LOAD = 0; SysTick->VAL = 0;
  for (unsigned i = 0; i < sizeof(NVIC->ICER) / sizeof(NVIC->ICER[0]); i++) { NVIC->ICER[i] = 0xFFFFFFFFu; NVIC->ICPR[i] = 0xFFFFFFFFu; }
#if defined(__CORTEX_M) && (__CORTEX_M == 7U)
  SCB_DisableICache();
  SCB_DisableDCache();
#endif
  HAL_MPU_Disable();
  SCB->VTOR = DFU_SYSMEM_ADDR;
  __set_MSP(*(volatile uint32_t *)DFU_SYSMEM_ADDR);
  __enable_irq();
  ((void (*)(void))(*(volatile uint32_t *)(DFU_SYSMEM_ADDR + 4)))();
  for (;;) {}
}

static void Athena_DfuPoll(void)                                /* main loop */
{
  uint8_t c = dfu_request;
  if (!c) return;
  dfu_request = 0;
  if (c == 'J') Athena_JumpToBootloader();
  else Athena_ResetToDfu();
}

static void on_mpu_packet(uint8_t type, const uint8_t *payload, uint8_t len, void *user)
{
  (void)user;
  if (type == LINK_PKT_STATE && len == sizeof(Athena_State)) {
    memcpy(&mpu_state, payload, sizeof mpu_state);
    mpu_state_ms = HAL_GetTick();
    state_count++;
    static uint8_t f[sizeof(Athena_State) + LINK_OVERHEAD];
    Logger_Write(f, (uint32_t)Link_Encode(f, LINK_PKT_STATE, payload, len));
  } else if (type == LINK_PKT_SPU && len == sizeof(Athena_SpuStatus)) {
    memcpy(&spu, payload, sizeof spu);
    spu_ms = HAL_GetTick(); spu_count++;
    size_t n = Link_Encode(spu_frame, LINK_PKT_SPU, payload, len);
    Logger_Write(spu_frame, (uint32_t)n);
    CDC_Transmit_FS(spu_frame, (uint16_t)n);           // USB dashboard (dropped if busy)
  }
}

/* commands pass through unchanged to the MPU, which hands them to the SPU (the SPU owns the safety checks) */
static void forward_cmd(const uint8_t *payload, uint8_t len, const char *src)
{
  cmd_count++;
  if (ground_mode && strcmp(src, "air") != 0) {        // laptop -> this ground board -> LoRa -> rocket
    uplink_len = (uint8_t)Link_Encode(uplink_frame, LINK_PKT_CMD, payload, len);
    print("cmd from %s: %u ch=%u -> LoRa uplink\r\n", src, payload[0], payload[1]);
    return;
  }
  cmd_pending_len = (uint8_t)Link_Encode(cmd_pending, LINK_PKT_CMD, payload, len);
  print("cmd from %s: %u ch=%u val=%u -> MPU -> SPU\r\n", src, payload[0], payload[1], (unsigned)(payload[2] | payload[3] << 8));
}

static void on_bt_packet(uint8_t type, const uint8_t *payload, uint8_t len, void *user)
{
  (void)user;
  if (type == LINK_PKT_CMD && len == sizeof(Athena_Cmd)) forward_cmd(payload, len, "bt");   // phone/laptop over the DSPS bridge
  else if (type == LINK_PKT_TEXT) print("bt: %.*s\r\n", len, (const char *)payload);
}

static void on_bt_text(uint8_t b, void *user)        /* CodeLess AT replies, one line at a time (main loop context) */
{
  (void)user;
  if (bt_len == 0xFF) return;                          // previous line not printed yet: drop
  if (b == '\n' || bt_len >= sizeof(bt_line) - 1) { bt_line[bt_len] = 0; bt_len = 0xFF; }
  else if (b >= 32) bt_line[bt_len++] = (char)b;
}

static void on_usb_packet(uint8_t type, const uint8_t *payload, uint8_t len, void *user)
{
  (void)user;
  if (type == LINK_PKT_CMD && len == sizeof(Athena_Cmd)) forward_cmd(payload, len, "usb");
}

static void on_usb_text(uint8_t b, void *user)       /* single characters typed on the USB console */
{
  (void)user;
  if (b == 'B' || b == 'J') Athena_DfuRequest(b);
  else if (b == 'L') { leds_off = !leds_off; if (leds_off) Set_LED_Color(LED_OFF); print("leds %s\r\n", leds_off ? "off" : "on"); }
  else if (b == 'G') {                                 // toggle ground-station mode, remembered across resets
    ground_mode = !ground_mode;
    DFU_BKP_ENABLE();
    GROUND_BKP_REG = ground_mode ? GROUND_MAGIC : 0;
    print("ground station mode %s\r\n", ground_mode ? "ON: LoRa <-> USB relay, own telemetry off" : "off");
  }
  else if (b == 'E' || b == 'F') {                     // destructive (erase flash log / format SD): same key twice within 2 s
    static uint8_t  confirm_ch;                        // a stray byte after a lost frame start must not wipe the card
    static uint32_t confirm_ms;
    uint32_t now = HAL_GetTick();
    if (confirm_ch == b && (now - confirm_ms) < 2000u) { confirm_ch = 0; Logger_UsbRx(&b, 1); }
    else { confirm_ch = b; confirm_ms = now; print("%c again within 2 s to %s\r\n", b, b == 'F' ? "format the SD card" : "erase the flash log"); }
  }
  else Logger_UsbRx(&b, 1);                            // 'D' dump flash log, 'S' sync SD
}

void Athena_UsbRx(const uint8_t *buf, uint32_t len)   /* USB CDC receive interrupt */
{
  for (uint32_t i = 0; i < len; i++) Link_RxPush(&usb_link, buf[i]);
}

static void on_air_packet(uint8_t type, const uint8_t *payload, uint8_t len, void *user)
{
  (void)user;
  air_count++;
  if (ground_mode) {                                   // ground board: everything heard goes to the laptop as-is
    size_t n = Link_Encode(air_frame, type, payload, len);
    Logger_Write(air_frame, (uint32_t)n);
    CDC_Transmit_FS(air_frame, (uint16_t)n);
    if (huart7.gState == HAL_UART_STATE_READY && n <= sizeof bt_frame) { memcpy(bt_frame, air_frame, n); HAL_UART_Transmit_IT(&huart7, bt_frame, (uint16_t)n); }
    return;
  }
  if (type == LINK_PKT_TEXT) print("air: %.*s\r\n", len, (const char *)payload);
  else if (type == LINK_PKT_CMD && len == sizeof(Athena_Cmd)) forward_cmd(payload, len, "air");   // ground station uplink
}

void HAL_UART_RxCpltCallback(UART_HandleTypeDef *huart)
{
  if (huart->Instance == UART8) {
    Link_RxPush(&mpu_link, uart8_rx_byte);
    HAL_UART_Receive_IT(&huart8, &uart8_rx_byte, 1);
  } else if (huart->Instance == UART7) {                // decoded in the main loop (frames and text lines)
    bt_rx_bytes++;
    Link_RxPush(&bt_link, uart7_rx_byte);
    HAL_UART_Receive_IT(&huart7, &uart7_rx_byte, 1);
  }
}

void HAL_UART_ErrorCallback(UART_HandleTypeDef *huart)
{
  if (huart->Instance == UART8) {              // an overrun aborts IT reception: re-arm it
    __HAL_UART_CLEAR_FLAG(huart, UART_CLEAR_OREF | UART_CLEAR_FEF | UART_CLEAR_NEF);
    HAL_UART_Receive_IT(&huart8, &uart8_rx_byte, 1);
  } else if (huart->Instance == UART7) {
    __HAL_UART_CLEAR_FLAG(huart, UART_CLEAR_OREF | UART_CLEAR_FEF | UART_CLEAR_NEF);
    HAL_UART_Receive_IT(&huart7, &uart7_rx_byte, 1);
  }
}
/* USER CODE END 4 */

 /* MPU Configuration */

void MPU_Config(void)
{
  MPU_Region_InitTypeDef MPU_InitStruct = {0};

  /* Disables the MPU */
  HAL_MPU_Disable();

  /** Initializes and configures the Region and the memory to be protected
  */
  MPU_InitStruct.Enable = MPU_REGION_ENABLE;
  MPU_InitStruct.Number = MPU_REGION_NUMBER0;
  MPU_InitStruct.BaseAddress = 0x0;
  MPU_InitStruct.Size = MPU_REGION_SIZE_4GB;
  MPU_InitStruct.SubRegionDisable = 0x87;
  MPU_InitStruct.TypeExtField = MPU_TEX_LEVEL0;
  MPU_InitStruct.AccessPermission = MPU_REGION_NO_ACCESS;
  MPU_InitStruct.DisableExec = MPU_INSTRUCTION_ACCESS_DISABLE;
  MPU_InitStruct.IsShareable = MPU_ACCESS_SHAREABLE;
  MPU_InitStruct.IsCacheable = MPU_ACCESS_NOT_CACHEABLE;
  MPU_InitStruct.IsBufferable = MPU_ACCESS_NOT_BUFFERABLE;

  HAL_MPU_ConfigRegion(&MPU_InitStruct);
  /* Enables the MPU */
  HAL_MPU_Enable(MPU_PRIVILEGED_DEFAULT);

}

void Error_Handler(void)
{
  /* USER CODE BEGIN Error_Handler_Debug */
  { volatile uint32_t *r = (volatile uint32_t *)(DFU_MAGIC_ADDR + 0x10);       /* who called us: printed after the reset */
    r[1] = (uint32_t)__builtin_return_address(0); r[2] = 0; r[3] = r[4] = r[5] = 0; r[0] = 0x4552524FUL;   /* "ERRO" */
    __DSB();
    NVIC_SystemReset(); }
  /* User can add his own implementation to report the HAL error return state */
  __disable_irq();
  while (1)
  {
  }
  /* USER CODE END Error_Handler_Debug */
}
